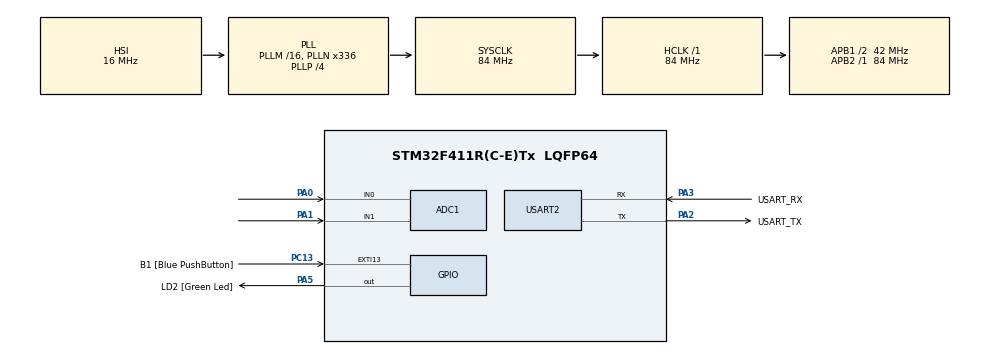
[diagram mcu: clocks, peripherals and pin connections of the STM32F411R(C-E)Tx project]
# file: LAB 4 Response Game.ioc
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ADC1.Channel-0\#ChannelRegularConversion=ADC_CHANNEL_0
ADC1.Channel-1\#ChannelRegularConversion=ADC_CHANNEL_1
ADC1.ContinuousConvMode=ENABLE
ADC1.DMAContinuousRequests=ENABLE
ADC1.NbrOfConversion=2
ADC1.NbrOfConversionFlag=1
ADC1.Rank-0\#ChannelRegularConversion=1
ADC1.Rank-1\#ChannelRegularConversion=2
ADC1.SamplingTime-0\#ChannelRegularConversion=ADC_SAMPLETIME_480CYCLES
ADC1.SamplingTime-1\#ChannelRegularConversion=ADC_SAMPLETIME_480CYCLES
ADC1.ScanConvMode=ENABLE
ADC1.master=1
Dma.ADC1.0.Direction=DMA_PERIPH_TO_MEMORY
Dma.ADC1.0.FIFOMode=DMA_FIFOMODE_DISABLE
Dma.ADC1.0.Instance=DMA2_Stream0
Dma.ADC1.0.MemDataAlignment=DMA_MDATAALIGN_WORD
Dma.ADC1.0.MemInc=DMA_MINC_ENABLE
Dma.ADC1.0.Mode=DMA_CIRCULAR
Dma.ADC1.0.PeriphDataAlignment=DMA_PDATAALIGN_WORD
Dma.ADC1.0.PeriphInc=DMA_PINC_DISABLE
Dma.ADC1.0.Priority=DMA_PRIORITY_LOW
Dma.Request0=ADC1
Mcu.Family=STM32F4
Mcu.Name=STM32F411R(C-E)Tx
Mcu.Package=LQFP64
NVIC.DMA2_Stream0_IRQn=true\:0\:0\:false\:false\:true\:false\:true
NVIC.EXTI15_10_IRQn=true\:0\:0\:false\:false\:true\:true\:true
NVIC.PriorityGroup=NVIC_PRIORITYGROUP_0
PA0-WKUP.Signal=ADCx_IN0
PA1.Signal=ADCx_IN1
PA13.GPIO_Label=TMS
PA13.Mode=Serial_Wire
PA13.Signal=SYS_JTMS-SWDIO
PA14.GPIO_Label=TCK
PA14.Mode=Serial_Wire
PA14.Signal=SYS_JTCK-SWCLK
PA2.GPIO_Label=USART_TX
PA2.Mode=Asynchronous
PA2.Signal=USART2_TX
PA3.GPIO_Label=USART_RX
PA3.Mode=Asynchronous
PA3.Signal=USART2_RX
PA5.GPIO_Label=LD2 [Green Led]
PA5.Signal=GPIO_Output
PB3.GPIO_Label=SWO
PB3.Signal=SYS_JTDO-SWO
PC13-ANTI_TAMP.GPIO_Label=B1 [Blue PushButton]
PC13-ANTI_TAMP.GPIO_ModeDefaultEXTI=GPIO_MODE_IT_RISING_FALLING
PC13-ANTI_TAMP.GPIO_PuPd=GPIO_PULLUP
PC13-ANTI_TAMP.Signal=GPXTI13
PC14-OSC32_IN.Mode=LSE-External-Oscillator
PC14-OSC32_IN.Signal=RCC_OSC32_IN
PC15-OSC32_OUT.Mode=LSE-External-Oscillator
PC15-OSC32_OUT.Signal=RCC_OSC32_OUT
PH0\ -\ OSC_IN.Mode=HSE-External-Clock-Source
PH0\ -\ OSC_IN.Signal=RCC_OSC_IN
PH1\ -\ OSC_OUT.Mode=HSE-External-Clock-Source
PH1\ -\ OSC_OUT.Signal=RCC_OSC_OUT
ProjectManager.HeapSize=0x200
ProjectManager.StackSize=0x400
ProjectManager.TargetToolchain=STM32CubeIDE
RCC.48MHZClocksFreq_Value=84000000
RCC.AHBFreq_Value=84000000
RCC.APB1CLKDivider=RCC_HCLK_DIV2
RCC.APB1Freq_Value=42000000
RCC.APB1TimFreq_Value=84000000
RCC.APB2Freq_Value=84000000
RCC.APB2TimFreq_Value=84000000
RCC.CortexFreq_Value=84000000
RCC.FLatency-AdvancedSettings=FLASH_LATENCY_2
RCC.HCLKFreq_Value=84000000
RCC.HSE_VALUE=8000000
RCC.HSI_VALUE=16000000
RCC.PLLN=336
RCC.PLLP=RCC_PLLP_DIV4
RCC.SYSCLKFreq_VALUE=84000000
RCC.SYSCLKSource=RCC_SYSCLKSOURCE_PLLCLK
RCC.VCOOutputFreq_Value=336000000
SH.ADCx_IN0.0=ADC1_IN0,IN0
SH.ADCx_IN1.0=ADC1_IN1,IN1
USART2.VirtualMode=VM_ASYNC
board=NUCLEO-F411RE

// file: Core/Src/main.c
/* USER CODE BEGIN Header */
/**
  ******************************************************************************
  * @file           : main.c
  * @brief          : Main program body
  ******************************************************************************
  * @attention
  *
  * <h2><center>&copy; Copyright (c) 2021 STMicroelectronics.
  * All rights reserved.</center></h2>
  *
  * This software component is licensed by ST under BSD 3-Clause license,
  * the "License"; You may not use this file except in compliance with the
  * License. You may obtain a copy of the License at:
  *                        opensource.org/licenses/BSD-3-Clause
  *
  ******************************************************************************
  */
/* USER CODE END Header */
#include "main.h"

ADC_HandleTypeDef hadc1;
DMA_HandleTypeDef hdma_adc1;

UART_HandleTypeDef huart2;

/* USER CODE BEGIN PV */
uint32_t ADCData[2] = {0};
uint16_t SwitchState = 0;		//mode 0 >> press  mode 1 >> unpress

uint32_t Time = 0;
uint32_t RandomTime = 0;
uint32_t ResponseTime = 0;
/* USER CODE END PV */

void SystemClock_Config(void);
static void MX_GPIO_Init(void);
static void MX_DMA_Init(void);
static void MX_USART2_UART_Init(void);
static void MX_ADC1_Init(void);

int main(void)
{

  /* MCU Configuration--------------------------------------------------------*/

  /* Reset of all peripherals, Initializes the Flash interface and the Systick. */
  HAL_Init();

  /* Configure the system clock */
  SystemClock_Config();

  /* Initialize all configured peripherals */
  MX_GPIO_Init();
  MX_DMA_Init();
  MX_USART2_UART_Init();
  MX_ADC1_Init();
  /* USER CODE BEGIN 2 */
  HAL_ADC_Start_DMA(&hadc1, ADCData, 2);

  HAL_GPIO_WritePin(LD2_GPIO_Port, LD2_Pin, GPIO_PIN_SET);	// LD2 turn ON at the beginning
  /* USER CODE END 2 */

  /* Infinite loop */
  while (1)
  {

    /* USER CODE BEGIN 3 */
	  if (SwitchState) 			//pressing
	  {
		  if (HAL_GetTick() - Time > RandomTime)			//turn ON LD2 when RandomTime run out
		  {
			  HAL_GPIO_WritePin(LD2_GPIO_Port, LD2_Pin, GPIO_PIN_SET);
		  }
	  }
  }
  /* USER CODE END 3 */
}

void SystemClock_Config(void)
{
  RCC_OscInitTypeDef RCC_OscInitStruct = {0};
  RCC_ClkInitTypeDef RCC_ClkInitStruct = {0};

  /** Configure the main internal regulator output voltage
  */
  __HAL_RCC_PWR_CLK_ENABLE();
  __HAL_PWR_VOLTAGESCALING_CONFIG(PWR_REGULATOR_VOLTAGE_SCALE1);
  /** Initializes the RCC Oscillators according to the specified parameters
  * in the RCC_OscInitTypeDef structure.
  */
  RCC_OscInitStruct.OscillatorType = RCC_OSCILLATORTYPE_HSI;
  RCC_OscInitStruct.HSIState = RCC_HSI_ON;
  RCC_OscInitStruct.HSICalibrationValue = RCC_HSICALIBRATION_DEFAULT;
  RCC_OscInitStruct.PLL.PLLState = RCC_PLL_ON;
  RCC_OscInitStruct.PLL.PLLSource = RCC_PLLSOURCE_HSI;
  RCC_OscInitStruct.PLL.PLLM = 16;
  RCC_OscInitStruct.PLL.PLLN = 336;
  RCC_OscInitStruct.PLL.PLLP = RCC_PLLP_DIV4;
  RCC_OscInitStruct.PLL.PLLQ = 4;
  if (HAL_RCC_OscConfig(&RCC_OscInitStruct) != HAL_OK)
  {
    Error_Handler();
  }
  /** Initializes the CPU, AHB and APB buses clocks
  */
  RCC_ClkInitStruct.ClockType = RCC_CLOCKTYPE_HCLK|RCC_CLOCKTYPE_SYSCLK
                              |RCC_CLOCKTYPE_PCLK1|RCC_CLOCKTYPE_PCLK2;
  RCC_ClkInitStruct.SYSCLKSource = RCC_SYSCLKSOURCE_PLLCLK;
  RCC_ClkInitStruct.AHBCLKDivider = RCC_SYSCLK_DIV1;
  RCC_ClkInitStruct.APB1CLKDivider = RCC_HCLK_DIV2;
  RCC_ClkInitStruct.APB2CLKDivider = RCC_HCLK_DIV1;

  if (HAL_RCC_ClockConfig(&RCC_ClkInitStruct, FLASH_LATENCY_2) != HAL_OK)
  {
    Error_Handler();
  }
}

static void MX_ADC1_Init(void)
{

  ADC_ChannelConfTypeDef sConfig = {0};

  /** Configure the global features of the ADC (Clock, Resolution, Data Alignment and number of conversion)
  */
  hadc1.Instance = ADC1;
  hadc1.Init.ClockPrescaler = ADC_CLOCK_SYNC_PCLK_DIV4;
  hadc1.Init.Resolution = ADC_RESOLUTION_12B;
  hadc1.Init.ScanConvMode = ENABLE;
  hadc1.Init.ContinuousConvMode = ENABLE;
  hadc1.Init.DiscontinuousConvMode = DISABLE;
  hadc1.Init.ExternalTrigConvEdge = ADC_EXTERNALTRIGCONVEDGE_NONE;
  hadc1.Init.ExternalTrigConv = ADC_SOFTWARE_START;
  hadc1.Init.DataAlign = ADC_DATAALIGN_RIGHT;
  hadc1.Init.NbrOfConversion = 2;
  hadc1.Init.DMAContinuousRequests = ENABLE;
  hadc1.Init.EOCSelection = ADC_EOC_SINGLE_CONV;
  if (HAL_ADC_Init(&hadc1) != HAL_OK)
  {
    Error_Handler();
  }
  /** Configure for the selected ADC regular channel its corresponding rank in the sequencer and its sample time.
  */
  sConfig.Channel = ADC_CHANNEL_0;
  sConfig.Rank = 1;
  sConfig.SamplingTime = ADC_SAMPLETIME_480CYCLES;
  if (HAL_ADC_ConfigChannel(&hadc1, &sConfig) != HAL_OK)
  {
    Error_Handler();
  }
  /** Configure for the selected ADC regular channel its corresponding rank in the sequencer and its sample time.
  */
  sConfig.Channel = ADC_CHANNEL_1;
  sConfig.Rank = 2;
  if (HAL_ADC_ConfigChannel(&hadc1, &sConfig) != HAL_OK)
  {
    Error_Handler();
  }

}

static void MX_USART2_UART_Init(void)
{

  huart2.Instance = USART2;
  huart2.Init.BaudRate = 115200;
  huart2.Init.WordLength = UART_WORDLENGTH_8B;
  huart2.Init.StopBits = UART_STOPBITS_1;
  huart2.Init.Parity = UART_PARITY_NONE;
  huart2.Init.Mode = UART_MODE_TX_RX;
  huart2.Init.HwFlowCtl = UART_HWCONTROL_NONE;
  huart2.Init.OverSampling = UART_OVERSAMPLING_16;
  if (HAL_UART_Init(&huart2) != HAL_OK)
  {
    Error_Handler();
  }

}

static void MX_DMA_Init(void)
{

  /* DMA controller clock enable */
  __HAL_RCC_DMA2_CLK_ENABLE();

  /* DMA interrupt init */
  /* DMA2_Stream0_IRQn interrupt configuration */
  HAL_NVIC_SetPriority(DMA2_Stream0_IRQn, 0, 0);
  HAL_NVIC_EnableIRQ(DMA2_Stream0_IRQn);

}

static void MX_GPIO_Init(void)
{
  GPIO_InitTypeDef GPIO_InitStruct = {0};

  /* GPIO Ports Clock Enable */
  __HAL_RCC_GPIOC_CLK_ENABLE();
  __HAL_RCC_GPIOH_CLK_ENABLE();
  __HAL_RCC_GPIOA_CLK_ENABLE();
  __HAL_RCC_GPIOB_CLK_ENABLE();

  /*Configure GPIO pin Output Level */
  HAL_GPIO_WritePin(LD2_GPIO_Port, LD2_Pin, GPIO_PIN_RESET);

  /*Configure GPIO pin : B1_Pin */
  GPIO_InitStruct.Pin = B1_Pin;
  GPIO_InitStruct.Mode = GPIO_MODE_IT_RISING_FALLING;
  GPIO_InitStruct.Pull = GPIO_PULLUP;
  HAL_GPIO_Init(B1_GPIO_Port, &GPIO_InitStruct);

  /*Configure GPIO pin : LD2_Pin */
  GPIO_InitStruct.Pin = LD2_Pin;
  GPIO_InitStruct.Mode = GPIO_MODE_OUTPUT_PP;
  GPIO_InitStruct.Pull = GPIO_NOPULL;
  GPIO_InitStruct.Speed = GPIO_SPEED_FREQ_LOW;
  HAL_GPIO_Init(LD2_GPIO_Port, &GPIO_InitStruct);

  /* EXTI interrupt init*/
  HAL_NVIC_SetPriority(EXTI15_10_IRQn, 0, 0);
  HAL_NVIC_EnableIRQ(EXTI15_10_IRQn);

}

/* USER CODE BEGIN 4 */

void HAL_GPIO_EXTI_Callback(uint16_t GPIO_Pin)
{
	if(GPIO_Pin == GPIO_PIN_13)			// blue botton
	{
		switch (SwitchState)
		{
		case 0 :	// press >> LD2 OFF for Randomtime
			HAL_GPIO_WritePin(LD2_GPIO_Port, LD2_Pin, GPIO_PIN_RESET);	// turn OFF LD2

			RandomTime = 1000 + ((22695477 * ADCData[0]) + ADCData[1])% 10000;
			Time = HAL_GetTick();

			SwitchState = 1;
			break;

		case 1 :	// unpress
			if (HAL_GetTick() - Time > RandomTime)		//recheck เวลาตอนนี้มากกว่าเวลาตอนเริ่มดับ
			{
				ResponseTime = (HAL_GetTick() - Time) - RandomTime;
			}
			else 										// error
			{
				ResponseTime = 0;
			}
			SwitchState = 0;
			break;
		}
	}
}

/* USER CODE END 4 */

void Error_Handler(void)
{
  __disable_irq();
  while (1)
  {
  }
}

/************************ (C) COPYRIGHT STMicroelectronics *****END OF FILE****/
